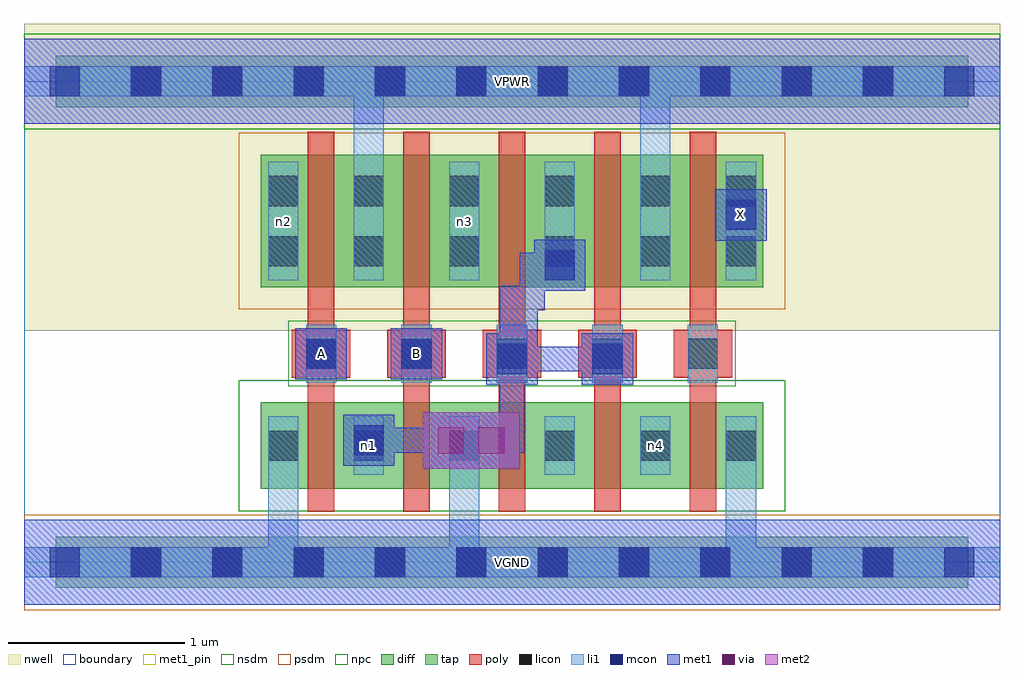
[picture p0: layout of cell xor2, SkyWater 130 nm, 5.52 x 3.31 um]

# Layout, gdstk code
import gdstk
lib = gdstk.Library(unit=1e-6, precision=1e-09)
def R(c, l, rs):  # rectangles x0, y0, x1, y1
    for r in rs: c.add(gdstk.rectangle(r[:2], r[2:], *l))
def A(c, l, x, y, w, h, nx, ny, dx, dy):  # array of equal rectangles
    R(c, l, [(x+i*dx, y+j*dy, x+i*dx+w, y+j*dy+h) for i in range(nx) for j in range(ny)])
nwell = (64, 20)
diff = (65, 20)
tap = (65, 44)
poly = (66, 20)
licon = (66, 44)
li1 = (67, 20)
mcon = (67, 44)
met1_pin = (68, 16)
met1 = (68, 20)
via = (68, 44)
met2 = (69, 20)
nsdm = (93, 44)
psdm = (94, 20)
npc = (95, 20)
boundary = (235, 4)

xor2 = lib.new_cell('xor2')
R(xor2, nwell, [(0,1.31,5.52,3.045)])
R(xor2, diff, [(1.34,0.415,4.18,0.905), (1.34,1.555,4.18,2.305)])
R(xor2, tap, [(0.18,-0.145,5.34,0.145), (0.18,2.575,5.34,2.865)])
A(xor2, poly, 1.605, 0.285, 0.15, 2.15, 5, 1, 0.54, 0)
A(xor2, poly, 1.515, 1.045, 0.33, 0.27, 5, 1, 0.54, 0)
A(xor2, licon, 0.605, -0.085, 0.17, 0.17, 10, 2, 0.46, 2.72)
A(xor2, licon, 1.865, 0.575, 0.17, 0.17, 4, 2, 0.54, 1.1)
A(xor2, licon, 1.595, 1.095, 0.17, 0.17, 5, 1, 0.54, 0)
A(xor2, licon, 1.865, 2.015, 0.17, 0.17, 4, 1, 0.54, 0)
R(xor2, licon, [(1.38,0.575,1.55,0.745), (3.97,0.575,4.14,0.745), (1.38,1.675,1.55,1.845), (3.97,1.675,4.14,1.845), (1.38,2.015,1.55,2.185), (3.97,2.015,4.14,2.185)])
A(xor2, li1, 1.865, 0.495, 0.17, 0.33, 4, 1, 0.54, 0)
A(xor2, li1, 1.595, 1.015, 0.17, 0.33, 5, 1, 0.54, 0)
A(xor2, li1, 1.865, 1.595, 0.17, 0.67, 4, 1, 0.54, 0)
R(xor2, li1, [(0,-0.085,5.52,0.085), (1.38,-0.085,1.55,0.825), (2.405,-0.085,2.575,0.825), (3.97,-0.085,4.14,0.825), (1.38,0.495,1.55,0.825), (3.97,0.495,4.14,0.825), (1.38,1.595,1.55,2.265), (1.865,1.595,2.035,2.805), (3.485,1.595,3.655,2.805), (3.97,1.595,4.14,2.265), (0,2.635,5.52,2.805)])
A(xor2, mcon, 0.145, -0.085, 0.17, 0.17, 12, 2, 0.46, 2.72)
R(xor2, mcon, [(1.865,0.605,2.035,0.775), (2.675,1.065,2.845,1.235), (3.215,1.065,3.385,1.235), (1.595,1.095,1.765,1.265), (2.135,1.095,2.305,1.265), (2.945,1.595,3.115,1.765), (3.97,1.88,4.14,2.05)])
R(xor2, met1_pin, [(0,-0.24,5.52,0.24), (1.535,1.035,1.825,1.325), (2.075,1.035,2.365,1.325), (3.91,1.82,4.2,2.11), (0,2.48,5.52,2.96)])
R(xor2, met1, [(0,-0.24,5.52,0.24), (2.255,0.53,2.575,0.85), (2.485,0.53,2.805,0.85), (1.805,0.545,2.095,0.835), (1.88,0.62,2.14,0.76), (2,0.62,2.485,0.76), (2.575,0.62,2.83,0.76), (2.69,0.62,2.83,1.22), (2.615,1.005,2.905,1.295), (3.155,1.005,3.445,1.295), (1.535,1.035,1.825,1.325), (2.075,1.035,2.365,1.325), (2.69,1.08,3.175,1.22), (2.69,1.08,2.83,1.565), (3.035,1.08,3.37,1.22), (2.69,1.295,2.905,1.425), (2.805,1.295,2.905,1.425), (2.69,1.425,2.945,1.565), (2.805,1.425,2.945,1.75), (2.885,1.535,3.175,1.825), (2.805,1.61,3.1,1.75), (3.91,1.82,4.2,2.11), (0,2.48,5.52,2.96)])
R(xor2, via, [(2.34,0.615,2.49,0.765), (2.57,0.615,2.72,0.765)])
R(xor2, met2, [(2.255,0.53,2.575,0.85), (2.485,0.53,2.805,0.85), (2.345,0.62,2.715,0.76)])
R(xor2, nsdm, [(1.215,0.29,4.305,1.03), (0,2.45,5.52,2.99)])
R(xor2, psdm, [(0,-0.27,5.52,0.27), (1.215,1.43,4.305,2.43)])
R(xor2, npc, [(1.495,0.995,4.025,1.365)])
R(xor2, boundary, [(0,0,5.52,2.72)])
xor2.add(gdstk.Label('n1', (1.95,0.66), layer=67, texttype=5))
xor2.add(gdstk.Label('n4', (3.57,0.66), layer=67, texttype=5))
xor2.add(gdstk.Label('n2', (1.465,1.93), layer=67, texttype=5))
xor2.add(gdstk.Label('n3', (2.49,1.93), layer=67, texttype=5))
xor2.add(gdstk.Label('A', (1.68,1.18), layer=68, texttype=5))
xor2.add(gdstk.Label('B', (2.22,1.18), layer=68, texttype=5))
xor2.add(gdstk.Label('X', (4.055,1.965), layer=68, texttype=5))
xor2.add(gdstk.Label('VPWR', (2.76,2.72), layer=68, texttype=5))
xor2.add(gdstk.Label('VGND', (2.76,0), layer=68, texttype=5))
xor2.add(gdstk.Label('A', (1.68,1.18), layer=68, texttype=16))
xor2.add(gdstk.Label('B', (2.22,1.18), layer=68, texttype=16))
xor2.add(gdstk.Label('X', (4.055,1.965), layer=68, texttype=16))
xor2.add(gdstk.Label('VPWR', (2.76,2.72), layer=68, texttype=16))
xor2.add(gdstk.Label('VGND', (2.76,0), layer=68, texttype=16))

lib.write_gds('xor2.gds')
